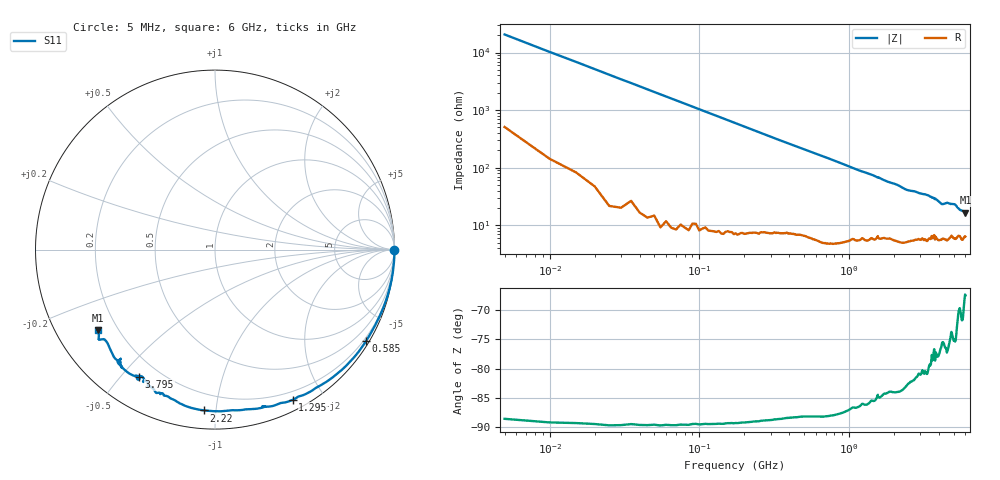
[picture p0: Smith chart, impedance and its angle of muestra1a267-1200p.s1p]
# Hz S RI R 50.000000
! Metas.Vna.Tools, 3.0.9519.15400
! Metas.Vna.Data, 3.0.9519.15360
! Created: UTC 2026.10.24 16:02:52
! FREQ  re:S1,1  im:S1,1
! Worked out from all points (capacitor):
!   1200 points, 5 MHz to 6 GHz, reference 50 ohm
!   read as one part to ground: C = 1.54 pF near 35 MHz
!   lowest |Z| = 16.6 ohm at 6 GHz (marker M1)
!   S11 on the Smith chart (normalised r, x): 5 MHz: open; 585 MHz: 0.11, -3.59; 1.295 GHz: 0.11, -1.64; 2.22 GHz: 0.10, -0.93; 3.795 GHz: 0.13, -0.56; 6 GHz: 0.13, -0.31
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5000000  0.9999 -0.00484
2.65e8  0.9632 -0.2504
5.85e8  0.8421 -0.5087
7.55e8  0.7593 -0.6175
1.01e9  0.5995 -0.7499
1.295e9  0.4333 -0.8371
1.505e9  0.3068 -0.8739
1.8e9  0.1279 -0.8948
2.075e9  0.0198 -0.9008
2.22e9  -0.0608 -0.8961
2.255e9  -0.0825 -0.8931
2.465e9  -0.1792 -0.8642
2.75e9  -0.2192 -0.8422
3.005e9  -0.2854 -0.8126
3.335e9  -0.3295 -0.7968
3.58e9  -0.3871 -0.729
3.68e9  -0.3962 -0.7193
3.755e9  -0.4337 -0.7202
3.795e9  -0.4224 -0.7088
4.15e9  -0.541 -0.6303
4.26e9  -0.5389 -0.6231
4.505e9  -0.5215 -0.6562
4.82e9  -0.5265 -0.6087
5.12e9  -0.5473 -0.6155
5.255e9  -0.5773 -0.5686
5.465e9  -0.6109 -0.5052
5.745e9  -0.648 -0.4996
6e9  -0.6523 -0.4495
